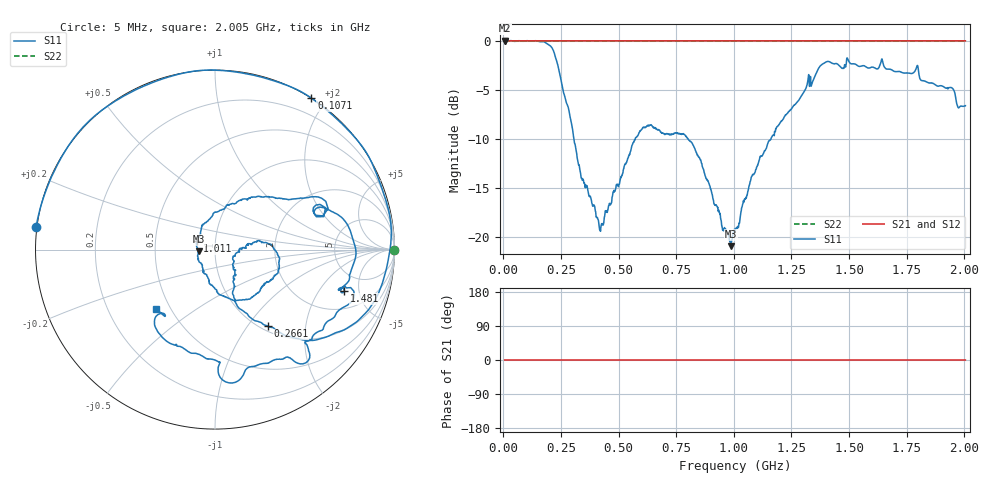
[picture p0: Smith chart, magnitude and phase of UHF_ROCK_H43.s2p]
!Keysight Technologies N9923A: A.08.09
!Date: Wednesday, 01 August 2018 08:16:19
!Timezone: (GMT+08:00) Kuala Lumpur, Singapore
!Model: N9923A
!Serial: MY52412143
!GPS Latitude:
!GPS Longitude:
!GPS TimeStamp: 0001-01-01 00:00:00Z
!GPS Seconds Since Last Read: 0
!CHECKSUM:0670262757
!Correction: S11(ON U)S21()S12()S22()
!S2P File: Measurements:S11,S21,S12,S22:
# Hz S DB R 50
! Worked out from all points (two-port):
!   2000 points, 5 MHz to 2.005 GHz, reference 50 ohm
!   highest |S21| = 0.00 dB at 5 MHz (marker M1); lowest = 0.0 dB at 5 MHz (marker M2)
!   |S21| within 3 dB of the highest: start of sweep to end of sweep
!   lowest |S11| = -20.9 dB at 986.5 MHz (marker M3), VSWR 1.20, Z = 41.8 - j0.729 ohm
!   |S11| at or under -10 dB: 306 MHz to 571.9 MHz (265.9 MHz wide, 60.6 % of centre); 801.7 MHz to 1.161 GHz (359.1 MHz wide, 36.6 % of centre)
!   |S22| runs from 0.0 to 0.0 dB; largest |S21 - S12| = 0
!   S11 on the Smith chart (normalised r, x): 5 MHz: -0.00, +0.06; 107.1 MHz: -0.00, +1.82; 266.1 MHz: 1.07, -1.26; 1.011 GHz: 0.81, +0.08; 1.481 GHz: 3.27, -3.51; 2.005 GHz: 0.41, -0.35
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5000000  0.04 172.8  0.00 0.0  0.00 0.0  0.00 0.0
5.502501e7  -0.05 107.6  0.00 0.0  0.00 0.0  0.00 0.0
1.07051e8  0.00 57.6  0.00 0.0  0.00 0.0  0.00 0.0
1.440695e8  -0.01 29.4  0.00 0.0  0.00 0.0  0.00 0.0
1.840895e8  -0.21 0.5  0.00 0.0  0.00 0.0  0.00 0.0
2.271111e8  -1.79 -34.8  0.00 0.0  0.00 0.0  0.00 0.0
2.661306e8  -5.69 -55.4  0.00 0.0  0.00 0.0  0.00 0.0
3.391671e8  -13.98 -57.9  0.00 0.0  0.00 0.0  0.00 0.0
4.252101e8  -18.70 -17.8  0.00 0.0  0.00 0.0  0.00 0.0
5.712831e8  -10.06 4.8  0.00 0.0  0.00 0.0  0.00 0.0
6.723337e8  -9.03 -29.5  0.00 0.0  0.00 0.0  0.00 0.0
8.184067e8  -10.40 -69.7  0.00 0.0  0.00 0.0  0.00 0.0
9.864907e8  -20.89 -174.5  0.00 0.0  0.00 0.0  0.00 0.0
1.0055e9  -19.34 159.4  0.00 0.0  0.00 0.0  0.00 0.0
1.010503e9  -19.03 154.6  0.00 0.0  0.00 0.0  0.00 0.0
1.157576e9  -10.07 61.8  0.00 0.0  0.00 0.0  0.00 0.0
1.338667e9  -4.37 21.9  0.00 0.0  0.00 0.0  0.00 0.0
1.400698e9  -2.14 1.1  0.00 0.0  0.00 0.0  0.00 0.0
1.480738e9  -2.43 -17.7  0.00 0.0  0.00 0.0  0.00 0.0
1.671833e9  -2.89 -57.7  0.00 0.0  0.00 0.0  0.00 0.0
1.794895e9  -2.57 -80.2  0.00 0.0  0.00 0.0  0.00 0.0
2.005e9  -6.59 -135.1  0.00 0.0  0.00 0.0  0.00 0.0
